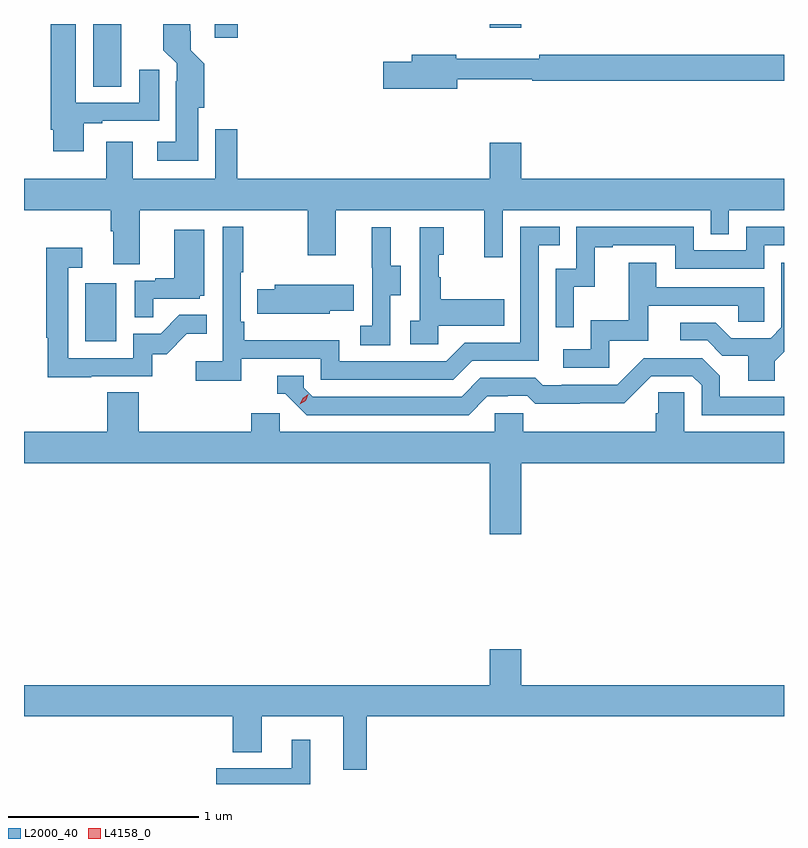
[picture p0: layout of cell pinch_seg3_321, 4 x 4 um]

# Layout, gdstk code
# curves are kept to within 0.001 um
import gdstk
lib = gdstk.Library(unit=1e-6, precision=1e-09)
def R(c, l, rs):  # rectangles x0, y0, x1, y1
    for r in rs: c.add(gdstk.rectangle(r[:2], r[2:], *l))
def P(c, l, *ps):  # polygons
    for p in ps: c.add(gdstk.Polygon(p, *l))
L2000_40 = (2000, 40)
L4158_0 = (4158, 0)

pinch_seg3_321 = lib.new_cell('pinch_seg3_321')
R(pinch_seg3_321, L2000_40, [(1014.026,717.54,1014.19,717.847), (1014.068,718.882,1014.217,719.211), (1014.707,719.139,1014.83,719.211), (1016.156,719.19,1016.32,719.211)])
P(pinch_seg3_321, L2000_40, [(1014.019,718.689),(1014.115,718.689),(1014.115,718.701),(1014.415,718.701),(1014.415,718.969),(1014.311,718.969),(1014.311,718.797),(1013.977,718.797),(1013.977,719.211),(1013.846,719.211),(1013.846,718.654),(1013.858,718.654),(1013.858,718.542),(1014.019,718.542)],
  [(1014.622,718.77),(1014.653,718.77),(1014.653,719.002),(1014.581,719.074),(1014.58,719.211),(1014.438,719.211),(1014.437,719.074),(1014.507,719.004),(1014.507,718.91),(1014.503,718.91),(1014.503,718.591),(1014.405,718.591),(1014.405,718.49),(1014.622,718.49)],
  [(1015.984,718.92),(1016.38,718.92),(1016.38,718.912),(1017.704,718.912),(1017.704,719.048),(1016.416,719.048),(1016.416,719.029),(1015.98,719.029),(1015.98,719.048),(1015.745,719.048),(1015.745,719.012),(1015.596,719.012),(1015.596,718.87),(1015.984,718.87)],
  [(1014.827,718.657),(1014.711,718.657),(1014.711,718.396),(1014.277,718.396),(1014.277,718.591),(1014.137,718.591),(1014.137,718.396),(1013.704,718.396),(1013.704,718.232),(1014.161,718.232),(1014.161,718.12),(1014.173,718.12),(1014.173,717.946),(1014.313,717.946),(1014.313,718.232),(1015.198,718.232),(1015.198,717.993),(1015.345,717.993),(1015.345,718.232),(1016.126,718.232),(1016.126,717.984),(1016.223,717.984),(1016.223,718.232),(1017.318,718.232),(1017.318,718.105),(1017.414,718.105),(1017.414,718.232),(1017.704,718.232),(1017.704,718.396),(1016.32,718.396),(1016.32,718.585),(1016.156,718.585),(1016.156,718.396),(1014.827,718.396)],
  [(1014.848,717.45),(1015.266,717.45),(1015.266,717.339),(1015.963,717.339),(1016.062,717.438),(1016.412,717.438),(1016.412,718.047),(1016.525,718.047),(1016.525,718.143),(1016.316,718.143),(1016.316,717.534),(1016.025,717.534),(1015.926,717.435),(1015.362,717.435),(1015.362,717.547),(1014.863,717.547),(1014.863,717.643),(1014.846,717.643),(1014.846,717.904),(1014.859,717.904),(1014.859,718.144),(1014.75,718.144),(1014.75,717.436),(1014.609,717.436),(1014.609,717.334),(1014.848,717.334)],
  [(1016.598,717.827),(1016.708,717.827),(1016.708,718.035),(1016.803,718.035),(1016.803,718.047),(1017.132,718.047),(1017.132,717.924),(1017.6,717.924),(1017.6,718.047),(1017.704,718.047),(1017.704,718.143),(1017.504,718.143),(1017.504,718.02),(1017.228,718.02),(1017.228,718.143),(1016.61,718.143),(1016.61,717.924),(1016.502,717.924),(1016.502,717.615),(1016.598,717.615)],
  [(1015.884,717.623),(1016.231,717.623),(1016.231,717.763),(1015.897,717.763),(1015.897,717.878),(1015.887,717.878),(1015.887,717.996),(1015.912,717.996),(1015.912,718.141),(1015.788,718.141),(1015.788,717.65),(1015.737,717.65),(1015.737,717.525),(1015.884,717.525)],
  [(1015.632,717.784),(1015.687,717.784),(1015.687,717.939),(1015.633,717.939),(1015.633,718.141),(1015.535,718.141),(1015.535,717.927),(1015.536,717.927),(1015.536,717.623),(1015.473,717.623),(1015.473,717.52),(1015.632,717.52)],
  [(1014.383,717.765),(1014.63,717.765),(1014.63,717.78),(1014.652,717.78),(1014.652,718.129),(1014.494,718.129),(1014.494,717.874),(1014.395,717.874),(1014.395,717.861),(1014.288,717.861),(1014.288,717.667),(1014.383,717.667)],
  [(1014.059,717.357),(1014.378,717.357),(1014.378,717.474),(1014.454,717.474),(1014.561,717.581),(1014.665,717.581),(1014.665,717.68),(1014.521,717.68),(1014.423,717.582),(1014.279,717.582),(1014.279,717.453),(1013.937,717.453),(1013.937,717.927),(1014.01,717.927),(1014.01,718.033),(1013.821,718.033),(1013.821,717.56),(1013.829,717.56),(1013.829,717.352),(1014.059,717.352)],
  [(1017.655,717.436),(1017.704,717.485),(1017.704,717.955),(1017.69,717.955),(1017.69,717.615),(1017.633,717.558),(1017.427,717.558),(1017.346,717.639),(1017.159,717.639),(1017.159,717.546),(1017.3,717.546),(1017.38,717.466),(1017.515,717.466),(1017.515,717.334),(1017.655,717.334)],
  [(1016.784,717.543),(1016.989,717.543),(1016.989,717.729),(1017.463,717.729),(1017.463,717.645),(1017.6,717.645),(1017.6,717.825),(1017.031,717.825),(1017.031,717.955),(1016.887,717.955),(1016.887,717.652),(1016.688,717.652),(1016.688,717.498),(1016.541,717.498),(1016.541,717.402),(1016.784,717.402)],
  [(1015.314,717.701),(1015.439,717.701),(1015.439,717.838),(1015.025,717.838),(1015.025,717.816),(1014.931,717.816),(1014.931,717.687),(1015.042,717.687),(1015.042,717.686),(1015.314,717.686)],
  [(1016.143,717.252),(1016.25,717.252),(1016.25,717.255),(1016.353,717.255),(1016.395,717.213),(1016.628,717.213),(1016.628,717.215),(1016.864,717.215),(1017.006,717.357),(1017.222,717.357),(1017.27,717.309),(1017.27,717.153),(1017.704,717.153),(1017.704,717.249),(1017.367,717.249),(1017.367,717.359),(1017.273,717.453),(1016.967,717.453),(1016.826,717.312),(1016.533,717.312),(1016.533,717.309),(1016.434,717.309),(1016.395,717.348),(1016.106,717.348),(1016.007,717.249),(1015.224,717.249),(1015.176,717.297),(1015.176,717.36),(1015.037,717.36),(1015.037,717.264),(1015.08,717.264),(1015.191,717.153),(1016.044,717.153)],
  [(1016.32,716.9),(1017.704,716.9),(1017.704,717.064),(1017.18,717.064),(1017.18,717.272),(1017.043,717.272),(1017.043,717.162),(1017.029,717.162),(1017.029,717.064),(1016.331,717.064),(1016.331,717.162),(1016.181,717.162),(1016.181,717.064),(1015.05,717.064),(1015.05,717.162),(1014.899,717.162),(1014.899,717.064),(1014.308,717.064),(1014.308,717.272),(1014.143,717.272),(1014.143,717.064),(1013.704,717.064),(1013.704,716.9),(1016.156,716.9),(1016.156,716.526),(1016.32,716.526)],
  [(1015.507,715.568),(1017.704,715.568),(1017.704,715.732),(1016.32,715.732),(1016.32,715.921),(1016.156,715.921),(1016.156,715.732),(1013.704,715.732),(1013.704,715.568),(1014.803,715.568),(1014.803,715.378),(1014.955,715.378),(1014.955,715.568),(1015.385,715.568),(1015.385,715.287),(1015.507,715.287)],
  [(1015.21,715.444),(1015.112,715.444),(1015.112,715.293),(1014.716,715.293),(1014.716,715.211),(1015.21,715.211)])
P(pinch_seg3_321, L4158_0, [(1015.155,717.209),(1015.155,717.209),(1015.171,717.242),(1015.201,717.262),(1015.201,717.262),(1015.201,717.262),(1015.186,717.229),(1015.155,717.209)])

lib.write_gds('pinch_seg3_321.gds')
